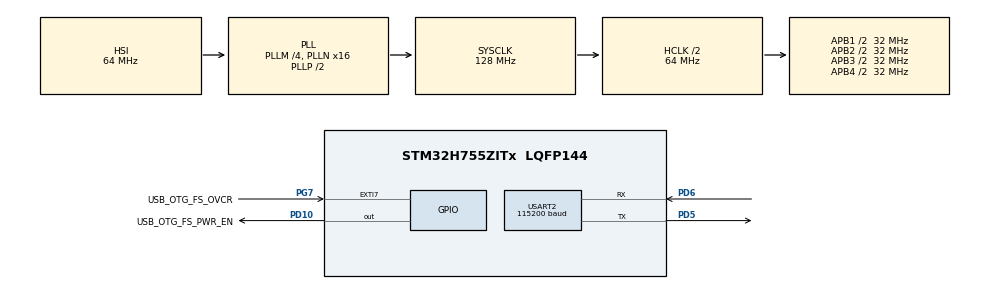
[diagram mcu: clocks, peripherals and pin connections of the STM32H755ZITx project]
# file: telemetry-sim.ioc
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CortexM4.IPs=FATFS_M4\:I,FREERTOS_M4\:I,IWDG2\:I,RCC,WWDG2\:I,DMA,BDMA,MDMA,NVIC2\:I,ETH,USART3,DEBUG,PDM2PCM_M4\:I,PWR,RESMGR_UTILITY,SYS_M4\:I,USB_DEVICE_M4\:I,USB_HOST_M4\:I,CORTEX_M4\:I,GPIO,OPENAMP_M4\:I,VREFBUF,NUCLEO-H755ZI-Q
CortexM7.IPs=FATFS_M7\:I,FREERTOS_M7\:I,IWDG1\:I,RCC\:I,WWDG1\:I,DMA\:I,BDMA\:I,MDMA\:I,NVIC1\:I,ETH\:I,USART3\:I,USB_OTG_FS\:I,SYS\:I,CORTEX_M7\:I,DEBUG\:I,PDM2PCM_M7\:I,PWR\:I,RESMGR_UTILITY\:I,USB_DEVICE_M7\:I,USB_HOST_M7\:I,GPIO\:I,OPENAMP_M7\:I,VREFBUF\:I,NUCLEO-H755ZI-Q\:I,USART2\:I
CortexM7.Pins=PD10,PG7
Mcu.Family=STM32H7
Mcu.Name=STM32H755ZITx
Mcu.Package=LQFP144
NUCLEO-H755ZI-Q.BUTTON=1
NUCLEO-H755ZI-Q.LD1=true
NUCLEO-H755ZI-Q.LD2=true
NUCLEO-H755ZI-Q.LD3=true
NUCLEO-H755ZI-Q.VCP=true
NVIC1.EXTI15_10_IRQn=true\:0\:0\:false\:false\:true\:false\:true\:true
NVIC1.PriorityGroup=NVIC_PRIORITYGROUP_4
NVIC2.PriorityGroup=NVIC_PRIORITYGROUP_4
PA1.PinAttribute=CortexM7
PA1.Signal=ETH_REF_CLK
PA11.PinAttribute=CortexM7
PA11.Signal=USB_OTG_FS_DM
PA12.PinAttribute=CortexM7
PA12.Signal=USB_OTG_FS_DP
PA2.PinAttribute=CortexM7
PA2.Signal=ETH_MDIO
PA7.PinAttribute=CortexM7
PA7.Signal=ETH_CRS_DV
PA8.PinAttribute=CortexM7
PA8.Signal=USB_OTG_FS_SOF
PA9.PinAttribute=CortexM7
PA9.Signal=USB_OTG_FS_VBUS
PB13.PinAttribute=CortexM7
PB13.Signal=ETH_TXD1
PC1.PinAttribute=CortexM7
PC1.Signal=ETH_MDC
PC14-OSC32_IN\ (OSC32_IN).PinAttribute=Free
PC14-OSC32_IN\ (OSC32_IN).Signal=RCC_OSC32_IN
PC15-OSC32_OUT\ (OSC32_OUT).PinAttribute=Free
PC15-OSC32_OUT\ (OSC32_OUT).Signal=RCC_OSC32_OUT
PC4.PinAttribute=CortexM7
PC4.Signal=ETH_RXD0
PC5.PinAttribute=CortexM7
PC5.Signal=ETH_RXD1
PD10.GPIO_Label=USB_OTG_FS_PWR_EN
PD10.PinAttribute=CortexM7
PD10.Signal=GPIO_Output
PD5.Mode=Asynchronous
PD5.PinAttribute=CortexM7
PD5.Signal=USART2_TX
PD6.Mode=Asynchronous
PD6.PinAttribute=CortexM7
PD6.Signal=USART2_RX
PD8.Signal=USART3_TX
PD9.Signal=USART3_RX
PG11.PinAttribute=CortexM7
PG11.Signal=ETH_TX_EN
PG13.PinAttribute=CortexM7
PG13.Signal=ETH_TXD0
PG7.GPIO_Label=USB_OTG_FS_OVCR
PG7.PinAttribute=CortexM7
PG7.Signal=GPXTI7
PH0-OSC_IN\ (PH0).PinAttribute=Free
PH0-OSC_IN\ (PH0).Signal=RCC_OSC_IN
PH1-OSC_OUT\ (PH1).PinAttribute=Free
PH1-OSC_OUT\ (PH1).Signal=RCC_OSC_OUT
ProjectManager.HeapSize=M4-0x200,M7-0x200
ProjectManager.StackSize=M4-0x400,M7-0x400
ProjectManager.TargetToolchain=STM32CubeIDE
RCC.ADCFreq_Value=129000000
RCC.APB1Freq_Value=32000000
RCC.APB2Freq_Value=32000000
RCC.APB3Freq_Value=32000000
RCC.APB4Freq_Value=32000000
RCC.CortexFreq_Value=64000000
RCC.D1CPRE=RCC_SYSCLK_DIV2
RCC.D1PPRE=RCC_APB3_DIV2
RCC.D2PPRE1=RCC_APB1_DIV2
RCC.D2PPRE2=RCC_APB2_DIV2
RCC.D3PPRE=RCC_APB4_DIV2
RCC.DIVM1=4
RCC.DIVN1=16
RCC.DIVQ1=5
RCC.HCLKFreq_Value=64000000
RCC.PLL2FRACN=0
RCC.PLL3FRACN=0
RCC.PLLFRACN=0
RCC.SYSCLKFreq_VALUE=128000000
RCC.SYSCLKSource=RCC_SYSCLKSOURCE_PLLCLK
RCC.SupplySource=PWR_DIRECT_SMPS_SUPPLY
RCC.USBFreq_Value=51200000
USART2.BaudRate=115200
USART2.VirtualMode-Asynchronous=VM_ASYNC
VP_NUCLEO-H755ZI-Q_VS_BSP_COMMON.Mode=COMMON
VP_SYS_M4_VS_Systick.Mode=SysTick
board=NUCLEO-H755ZI-Q

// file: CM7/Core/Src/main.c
/* USER CODE BEGIN Header */
/**
  ******************************************************************************
  * @file           : main.c
  * @brief          : Main program body
  ******************************************************************************
  * @attention
  *
  * Copyright (c) 2026 STMicroelectronics.
  * All rights reserved.
  *
  * This software is licensed under terms that can be found in the LICENSE file
  * in the root directory of this software component.
  * If no LICENSE file comes with this software, it is provided AS-IS.
  *
  ******************************************************************************
  */
/* USER CODE END Header */
#include "main.h"

/* USER CODE BEGIN Includes */
#include "telemetry_simulation.h"
/* USER CODE END Includes */

/* USER CODE BEGIN PD */
#define LD1_Pin             GPIO_PIN_0
#define LD1_GPIO_Port       GPIOB
#define B1_Pin              GPIO_PIN_13
#define B1_GPIO_Port        GPIOC
/* DUAL_CORE_BOOT_SYNC_SEQUENCE: Define for dual core boot synchronization    */
/*                             demonstration code based on hardware semaphore */
/* This define is present in both CM7/CM4 projects                            */
/* To comment when developping/debugging on a single core                     */
//#define DUAL_CORE_BOOT_SYNC_SEQUENCE

#if defined(DUAL_CORE_BOOT_SYNC_SEQUENCE)
#ifndef HSEM_ID_0
#define HSEM_ID_0 (0U) /* HW semaphore 0*/
#endif
#endif /* DUAL_CORE_BOOT_SYNC_SEQUENCE */

/* USER CODE END PD */

COM_InitTypeDef BspCOMInit;

UART_HandleTypeDef huart2;

void SystemClock_Config(void);
static void MX_GPIO_Init(void);
static void MX_USART2_UART_Init(void);

int main(void)
{

/* USER CODE BEGIN Boot_Mode_Sequence_0 */
#if defined(DUAL_CORE_BOOT_SYNC_SEQUENCE)
  int32_t timeout;
#endif /* DUAL_CORE_BOOT_SYNC_SEQUENCE */
/* USER CODE END Boot_Mode_Sequence_0 */

/* USER CODE BEGIN Boot_Mode_Sequence_1 */
#if defined(DUAL_CORE_BOOT_SYNC_SEQUENCE)
  /* Wait until CPU2 boots and enters in stop mode or timeout*/
  timeout = 0xFFFF;
  while((__HAL_RCC_GET_FLAG(RCC_FLAG_D2CKRDY) != RESET) && (timeout-- > 0));
  if ( timeout < 0 )
  {
  Error_Handler();
  }
#endif /* DUAL_CORE_BOOT_SYNC_SEQUENCE */
/* USER CODE END Boot_Mode_Sequence_1 */
  /* MCU Configuration--------------------------------------------------------*/

  /* Reset of all peripherals, Initializes the Flash interface and the Systick. */
  HAL_Init();

  /* Configure the system clock */
  SystemClock_Config();
/* USER CODE BEGIN Boot_Mode_Sequence_2 */
#if defined(DUAL_CORE_BOOT_SYNC_SEQUENCE)
/* When system initialization is finished, Cortex-M7 will release Cortex-M4 by means of
HSEM notification */
/*HW semaphore Clock enable*/
__HAL_RCC_HSEM_CLK_ENABLE();
/*Take HSEM */
HAL_HSEM_FastTake(HSEM_ID_0);
/*Release HSEM in order to notify the CPU2(CM4)*/
HAL_HSEM_Release(HSEM_ID_0,0);
/* wait until CPU2 wakes up from stop mode */
timeout = 0xFFFF;
while((__HAL_RCC_GET_FLAG(RCC_FLAG_D2CKRDY) == RESET) && (timeout-- > 0));
if ( timeout < 0 )
{
Error_Handler();
}
#endif /* DUAL_CORE_BOOT_SYNC_SEQUENCE */
/* USER CODE END Boot_Mode_Sequence_2 */

  /* Initialize all configured peripherals */
  MX_GPIO_Init();
  MX_USART2_UART_Init();
  /* USER CODE BEGIN 2 */
  {
	  GPIO_InitTypeDef led = {0};
	  led.Pin   = LD1_Pin;
	  led.Mode  = GPIO_MODE_OUTPUT_PP;
	  led.Pull  = GPIO_NOPULL;
	  led.Speed = GPIO_SPEED_FREQ_LOW;
	  HAL_GPIO_Init(LD1_GPIO_Port, &led);
	}

	TelemetrySim_Init();
  /* USER CODE END 2 */

  /* Initialize leds */
  BSP_LED_Init(LED_GREEN);
  BSP_LED_Init(LED_YELLOW);
  BSP_LED_Init(LED_RED);

  /* Initialize USER push-button, will be used to trigger an interrupt each time it's pressed.*/
  BSP_PB_Init(BUTTON_USER, BUTTON_MODE_EXTI);

  /* Initialize COM1 port (115200, 8 bits (7-bit data + 1 stop bit), no parity */
  BspCOMInit.BaudRate   = 115200;
  BspCOMInit.WordLength = COM_WORDLENGTH_8B;
  BspCOMInit.StopBits   = COM_STOPBITS_1;
  BspCOMInit.Parity     = COM_PARITY_NONE;
  BspCOMInit.HwFlowCtl  = COM_HWCONTROL_NONE;
  if (BSP_COM_Init(COM1, &BspCOMInit) != BSP_ERROR_NONE)
  {
    Error_Handler();
  }

  /* Infinite loop */
  while (1)
  {

    /* USER CODE BEGIN 3 */
	  TelemetrySim_Poll();

	  /* B1 toggles burst mode. Steady traffic will not find batching or
		 queue-depth bugs -- only an abrupt rate change will. */
	  {
		static uint8_t prev_btn = 0;
		uint8_t btn = (HAL_GPIO_ReadPin(B1_GPIO_Port, B1_Pin) == GPIO_PIN_SET);

		if (btn && !prev_btn)
		{
		  TelemetrySim_SetBurst(!TelemetrySim_GetBurst());
		}
		prev_btn = btn;
	  }

	  HAL_GPIO_WritePin(LD1_GPIO_Port, LD1_Pin,
	                        ((HAL_GetTick() / 500U) % 2U) ? GPIO_PIN_SET : GPIO_PIN_RESET);
  }
  /* USER CODE END 3 */
}

void SystemClock_Config(void)
{
  RCC_OscInitTypeDef RCC_OscInitStruct = {0};
  RCC_ClkInitTypeDef RCC_ClkInitStruct = {0};

  /** Supply configuration update enable
  */
  HAL_PWREx_ConfigSupply(PWR_DIRECT_SMPS_SUPPLY);

  /** Configure the main internal regulator output voltage
  */
  __HAL_PWR_VOLTAGESCALING_CONFIG(PWR_REGULATOR_VOLTAGE_SCALE3);

  while(!__HAL_PWR_GET_FLAG(PWR_FLAG_VOSRDY)) {}

  /** Initializes the RCC Oscillators according to the specified parameters
  * in the RCC_OscInitTypeDef structure.
  */
  RCC_OscInitStruct.OscillatorType = RCC_OSCILLATORTYPE_HSI;
  RCC_OscInitStruct.HSIState = RCC_HSI_DIV1;
  RCC_OscInitStruct.HSICalibrationValue = RCC_HSICALIBRATION_DEFAULT;
  RCC_OscInitStruct.PLL.PLLState = RCC_PLL_ON;
  RCC_OscInitStruct.PLL.PLLSource = RCC_PLLSOURCE_HSI;
  RCC_OscInitStruct.PLL.PLLM = 4;
  RCC_OscInitStruct.PLL.PLLN = 16;
  RCC_OscInitStruct.PLL.PLLP = 2;
  RCC_OscInitStruct.PLL.PLLQ = 5;
  RCC_OscInitStruct.PLL.PLLR = 2;
  RCC_OscInitStruct.PLL.PLLRGE = RCC_PLL1VCIRANGE_3;
  RCC_OscInitStruct.PLL.PLLVCOSEL = RCC_PLL1VCOWIDE;
  RCC_OscInitStruct.PLL.PLLFRACN = 0;
  if (HAL_RCC_OscConfig(&RCC_OscInitStruct) != HAL_OK)
  {
    Error_Handler();
  }

  /** Initializes the CPU, AHB and APB buses clocks
  */
  RCC_ClkInitStruct.ClockType = RCC_CLOCKTYPE_HCLK|RCC_CLOCKTYPE_SYSCLK
                              |RCC_CLOCKTYPE_PCLK1|RCC_CLOCKTYPE_PCLK2
                              |RCC_CLOCKTYPE_D3PCLK1|RCC_CLOCKTYPE_D1PCLK1;
  RCC_ClkInitStruct.SYSCLKSource = RCC_SYSCLKSOURCE_PLLCLK;
  RCC_ClkInitStruct.SYSCLKDivider = RCC_SYSCLK_DIV2;
  RCC_ClkInitStruct.AHBCLKDivider = RCC_HCLK_DIV1;
  RCC_ClkInitStruct.APB3CLKDivider = RCC_APB3_DIV2;
  RCC_ClkInitStruct.APB1CLKDivider = RCC_APB1_DIV2;
  RCC_ClkInitStruct.APB2CLKDivider = RCC_APB2_DIV2;
  RCC_ClkInitStruct.APB4CLKDivider = RCC_APB4_DIV2;

  if (HAL_RCC_ClockConfig(&RCC_ClkInitStruct, FLASH_LATENCY_1) != HAL_OK)
  {
    Error_Handler();
  }
}

static void MX_USART2_UART_Init(void)
{

  huart2.Instance = USART2;
  huart2.Init.BaudRate = 115200;
  huart2.Init.WordLength = UART_WORDLENGTH_8B;
  huart2.Init.StopBits = UART_STOPBITS_1;
  huart2.Init.Parity = UART_PARITY_NONE;
  huart2.Init.Mode = UART_MODE_TX_RX;
  huart2.Init.HwFlowCtl = UART_HWCONTROL_NONE;
  huart2.Init.OverSampling = UART_OVERSAMPLING_16;
  huart2.Init.OneBitSampling = UART_ONE_BIT_SAMPLE_DISABLE;
  huart2.Init.ClockPrescaler = UART_PRESCALER_DIV1;
  huart2.AdvancedInit.AdvFeatureInit = UART_ADVFEATURE_NO_INIT;
  if (HAL_UART_Init(&huart2) != HAL_OK)
  {
    Error_Handler();
  }
  if (HAL_UARTEx_SetTxFifoThreshold(&huart2, UART_TXFIFO_THRESHOLD_1_8) != HAL_OK)
  {
    Error_Handler();
  }
  if (HAL_UARTEx_SetRxFifoThreshold(&huart2, UART_RXFIFO_THRESHOLD_1_8) != HAL_OK)
  {
    Error_Handler();
  }
  if (HAL_UARTEx_DisableFifoMode(&huart2) != HAL_OK)
  {
    Error_Handler();
  }

}

static void MX_GPIO_Init(void)
{
  GPIO_InitTypeDef GPIO_InitStruct = {0};

  /* GPIO Ports Clock Enable */
  __HAL_RCC_GPIOC_CLK_ENABLE();
  __HAL_RCC_GPIOA_CLK_ENABLE();
  __HAL_RCC_GPIOB_CLK_ENABLE();
  __HAL_RCC_GPIOD_CLK_ENABLE();
  __HAL_RCC_GPIOG_CLK_ENABLE();

  /*Configure GPIO pin Output Level */
  HAL_GPIO_WritePin(USB_OTG_FS_PWR_EN_GPIO_Port, USB_OTG_FS_PWR_EN_Pin, GPIO_PIN_RESET);

  /*Configure GPIO pins : PC1 PC4 PC5 */
  GPIO_InitStruct.Pin = GPIO_PIN_1|GPIO_PIN_4|GPIO_PIN_5;
  GPIO_InitStruct.Mode = GPIO_MODE_AF_PP;
  GPIO_InitStruct.Pull = GPIO_NOPULL;
  GPIO_InitStruct.Speed = GPIO_SPEED_FREQ_HIGH;
  GPIO_InitStruct.Alternate = GPIO_AF11_ETH;
  HAL_GPIO_Init(GPIOC, &GPIO_InitStruct);

  /*Configure GPIO pins : PA1 PA2 PA7 */
  GPIO_InitStruct.Pin = GPIO_PIN_1|GPIO_PIN_2|GPIO_PIN_7;
  GPIO_InitStruct.Mode = GPIO_MODE_AF_PP;
  GPIO_InitStruct.Pull = GPIO_NOPULL;
  GPIO_InitStruct.Speed = GPIO_SPEED_FREQ_HIGH;
  GPIO_InitStruct.Alternate = GPIO_AF11_ETH;
  HAL_GPIO_Init(GPIOA, &GPIO_InitStruct);

  /*Configure GPIO pin : PB13 */
  GPIO_InitStruct.Pin = GPIO_PIN_13;
  GPIO_InitStruct.Mode = GPIO_MODE_AF_PP;
  GPIO_InitStruct.Pull = GPIO_NOPULL;
  GPIO_InitStruct.Speed = GPIO_SPEED_FREQ_HIGH;
  GPIO_InitStruct.Alternate = GPIO_AF11_ETH;
  HAL_GPIO_Init(GPIOB, &GPIO_InitStruct);

  /*Configure GPIO pin : USB_OTG_FS_PWR_EN_Pin */
  GPIO_InitStruct.Pin = USB_OTG_FS_PWR_EN_Pin;
  GPIO_InitStruct.Mode = GPIO_MODE_OUTPUT_PP;
  GPIO_InitStruct.Pull = GPIO_NOPULL;
  GPIO_InitStruct.Speed = GPIO_SPEED_FREQ_LOW;
  HAL_GPIO_Init(USB_OTG_FS_PWR_EN_GPIO_Port, &GPIO_InitStruct);

  /*Configure GPIO pin : USB_OTG_FS_OVCR_Pin */
  GPIO_InitStruct.Pin = USB_OTG_FS_OVCR_Pin;
  GPIO_InitStruct.Mode = GPIO_MODE_IT_RISING;
  GPIO_InitStruct.Pull = GPIO_NOPULL;
  HAL_GPIO_Init(USB_OTG_FS_OVCR_GPIO_Port, &GPIO_InitStruct);

  /*Configure GPIO pins : PA8 PA11 PA12 */
  GPIO_InitStruct.Pin = GPIO_PIN_8|GPIO_PIN_11|GPIO_PIN_12;
  GPIO_InitStruct.Mode = GPIO_MODE_AF_PP;
  GPIO_InitStruct.Pull = GPIO_NOPULL;
  GPIO_InitStruct.Speed = GPIO_SPEED_FREQ_LOW;
  GPIO_InitStruct.Alternate = GPIO_AF10_OTG1_FS;
  HAL_GPIO_Init(GPIOA, &GPIO_InitStruct);

  /*Configure GPIO pins : PG11 PG13 */
  GPIO_InitStruct.Pin = GPIO_PIN_11|GPIO_PIN_13;
  GPIO_InitStruct.Mode = GPIO_MODE_AF_PP;
  GPIO_InitStruct.Pull = GPIO_NOPULL;
  GPIO_InitStruct.Speed = GPIO_SPEED_FREQ_HIGH;
  GPIO_InitStruct.Alternate = GPIO_AF11_ETH;
  HAL_GPIO_Init(GPIOG, &GPIO_InitStruct);

}

void Error_Handler(void)
{
  __disable_irq();
  while (1)
  {
  }
}
